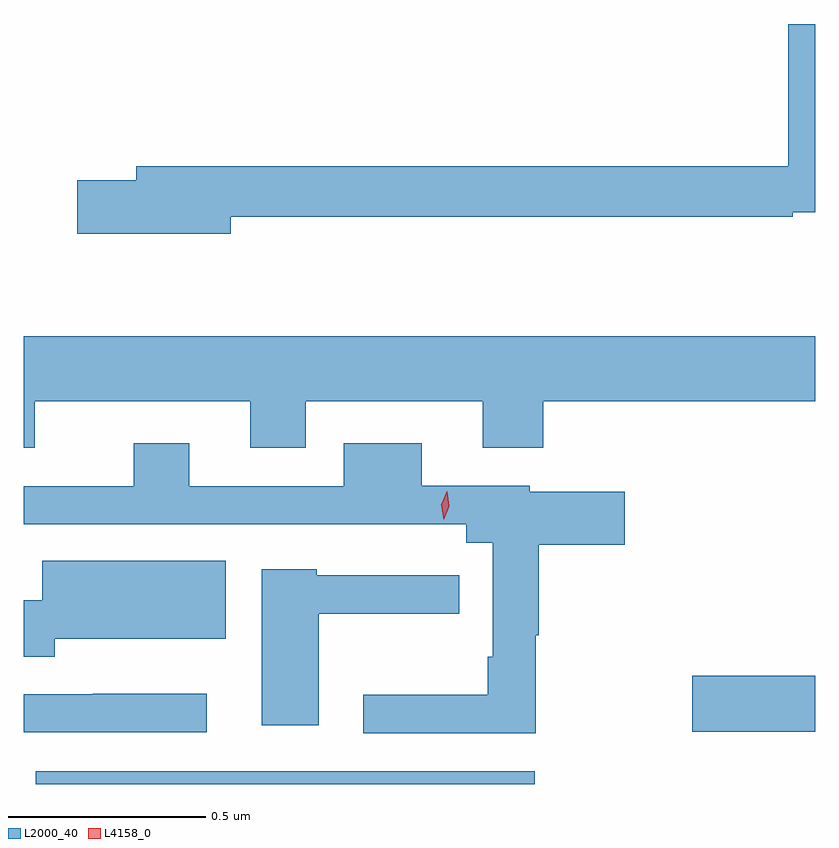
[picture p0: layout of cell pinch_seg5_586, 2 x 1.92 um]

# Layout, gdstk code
import gdstk
lib = gdstk.Library(unit=1e-6, precision=1e-09)
def R(c, l, rs):  # rectangles x0, y0, x1, y1
    for r in rs: c.add(gdstk.rectangle(r[:2], r[2:], *l))
def P(c, l, *ps):  # polygons
    for p in ps: c.add(gdstk.Polygon(p, *l))
L2000_40 = (2000, 40)
L4158_0 = (4158, 0)

pinch_seg5_586 = lib.new_cell('pinch_seg5_586')
R(pinch_seg5_586, L2000_40, [(1131.153,871.777,1132.414,871.809), (1132.812,871.909,1133.123,872.051)])
P(pinch_seg5_586, L2000_40, [(1131.646,873.21),(1133.066,873.21),(1133.066,873.222),(1133.123,873.222),(1133.123,873.697),(1133.054,873.697),(1133.054,873.338),(1131.407,873.338),(1131.407,873.302),(1131.258,873.302),(1131.258,873.167),(1131.646,873.167)],
  [(1131.151,872.744),(1131.695,872.744),(1131.695,872.627),(1131.835,872.627),(1131.835,872.744),(1132.283,872.744),(1132.283,872.627),(1132.436,872.627),(1132.436,872.744),(1133.123,872.744),(1133.123,872.908),(1131.123,872.908),(1131.123,872.627),(1131.151,872.627)],
  [(1132.417,872.153),(1132.424,872.153),(1132.424,872.381),(1132.642,872.381),(1132.642,872.515),(1132.401,872.515),(1132.401,872.531),(1132.129,872.531),(1132.129,872.638),(1131.932,872.638),(1131.932,872.529),(1131.541,872.529),(1131.541,872.638),(1131.401,872.638),(1131.401,872.529),(1131.123,872.529),(1131.123,872.433),(1132.241,872.433),(1132.241,872.386),(1132.308,872.386),(1132.308,872.098),(1132.296,872.098),(1132.296,872.003),(1131.981,872.003),(1131.981,871.905),(1132.417,871.905)],
  [(1131.202,872.144),(1131.634,872.144),(1131.634,872.341),(1131.17,872.341),(1131.17,872.241),(1131.123,872.241),(1131.123,872.099),(1131.202,872.099)],
  [(1131.868,872.207),(1132.223,872.207),(1132.223,872.304),(1131.864,872.304),(1131.864,872.32),(1131.725,872.32),(1131.725,871.926),(1131.868,871.926)],
  [(1131.586,872.005),(1131.298,872.005),(1131.298,872.004),(1131.123,872.004),(1131.123,871.908),(1131.586,871.908)])
P(pinch_seg5_586, L4158_0, [(1132.184,872.445),(1132.184,872.445),(1132.178,872.482),(1132.192,872.515),(1132.193,872.516),(1132.193,872.515),(1132.198,872.479),(1132.184,872.445)])

lib.write_gds('pinch_seg5_586.gds')
